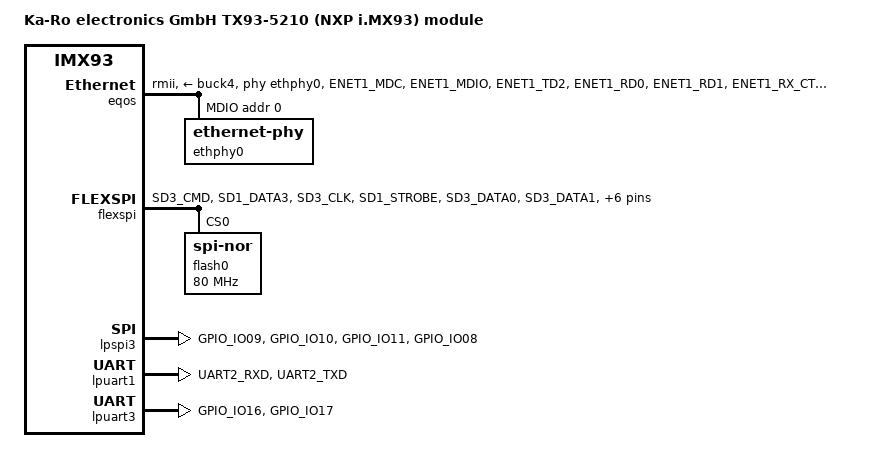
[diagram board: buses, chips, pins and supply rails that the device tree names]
// SPDX-License-Identifier: (GPL-2.0+ OR MIT)
/*
 * Copyright 2023 Lothar Waßmann <LW@KARO-electronics.de>
 */

/dts-v1/;

#include "imx93-karo.dtsi"

/ {
	model = "Ka-Ro electronics GmbH TX93-5210 (NXP i.MX93) module";
	compatible = "karo,tx93-5210", "fsl,imx93";
};

&eqos {
	pinctrl-names = "default";
	pinctrl-0 = <&pinctrl_eqos_rmii &pinctrl_ethphy0_rst>;
	assigned-clock-rates = <0 50000000>;
	phy-mode = "rmii";
	phy-handle = <&ethphy0>;
	phy-supply = <&buck4>;
	phy-reset-gpios = <&gpio4 13 GPIO_ACTIVE_LOW>;
	phy-reset-duration = <25000>; /* µs */
	phy-reset-post-delay = <10>; /* µs */
	status = "okay";

	mdio {
		compatible = "snps,dwmac-mdio";
		#address-cells = <1>;
		#size-cells = <0>;
		clock-frequency = <2500000>;

		ethphy0: ethernet-phy@0 {
			reg = <0>;
			clocks = <&clk IMX93_CLK_ENET>;
			smsc,disable-energy-detect;
		};
	};
};

&fec {
	pinctrl-names = "default";
	pinctrl-0 = <&pinctrl_fec_rgmii>;
	phy-supply = <&buck4>;
	status = "disabled";

	mdio {
		#address-cells = <1>;
		#size-cells = <0>;
		clock-frequency = <2500000>;
	};
};

&flexspi {
	pinctrl-names = "default";
	pinctrl-0 = <&pinctrl_flexspi>;
	status = "okay";

	flash0: flash@0 {
		reg = <0>;
		#address-cells = <1>;
		#size-cells = <1>;
		compatible = "jedec,spi-nor";
		spi-max-frequency = <80000000>;
		spi-tx-bus-width = <1>;
		spi-rx-bus-width = <1>;
	};
};

&lpspi3 {
	pinctrl-names = "default";
	pinctrl-0 = <&pinctrl_lpspi3 &pinctrl_lpspi3_cs>;
	spi-max-frequency = <25000000>;
};

&lpuart1 { /* console */
	pinctrl-0 = <&pinctrl_uart1 &pinctrl_uart1_rtscts>;
	uart-has-rtscts;
};

&lpuart2 {
	pinctrl-names = "default";
	pinctrl-0 = <&pinctrl_uart2>;
	status = "disabled";
};

&lpuart3 {
	pinctrl-0 = <&pinctrl_uart3 &pinctrl_uart3_rtscts>;
	uart-has-rtscts;
};

&iomuxc {
	pinctrl-names = "default";
	status = "okay";

	pinctrl_eqos_rmii: eqos-rmiigrp {
		fsl,pins = <
			MX93_PAD_ENET1_MDC__ENET_QOS_MDC			0x57e
			MX93_PAD_ENET1_MDIO__ENET_QOS_MDIO			0x17e
			MX93_PAD_ENET1_TD2__CCM_ENET_QOS_CLOCK_GENERATE_REF_CLK	0x4000017e
			/* SMSC LAN8710 Strap pins: MODE0 */
			MX93_PAD_ENET1_RD0__ENET_QOS_RGMII_RD0			0x37e
			/* MODE1 */
			MX93_PAD_ENET1_RD1__ENET_QOS_RGMII_RD1			0x37e
			/* MODE2 (external Pullup) */
			MX93_PAD_ENET1_RX_CTL__ENET_QOS_RGMII_RX_CTL		0x37e
			/* PHYAD0 */
			MX93_PAD_ENET1_RXC__ENET_QOS_RX_ER			0x57e

			MX93_PAD_ENET1_TD0__ENET_QOS_RGMII_TD0			0x57e
			MX93_PAD_ENET1_TD1__ENET_QOS_RGMII_TD1			0x57e
			MX93_PAD_ENET1_TX_CTL__ENET_QOS_RGMII_TX_CTL		0x57e
		>;
	};

	pinctrl_ethphy0_rst: ethphy0-rstgrp {
		fsl,pins = <
			MX93_PAD_ENET1_RD3__GPIO4_IO13				0x4000017e
		>;
	};

	pinctrl_fec_rgmii: fec-rgmiigrp {
		fsl,pins = <
			MX93_PAD_ENET2_MDC__ENET1_MDC				0x57e
			MX93_PAD_ENET2_MDIO__ENET1_MDIO				0x17e
			/* KSZ9031 Strap pins: MODE0 */
			MX93_PAD_ENET2_RD0__ENET1_RGMII_RD0			0x37e
			/* MODE1 */
			MX93_PAD_ENET2_RD1__ENET1_RGMII_RD1			0x37e
			/* MODE2 */
			MX93_PAD_ENET2_RD2__ENET1_RGMII_RD2			0x37e
			/* MODE3 */
			MX93_PAD_ENET2_RD3__ENET1_RGMII_RD3			0x37e
			/* CLK125_EN */
			MX93_PAD_ENET2_RX_CTL__ENET1_RGMII_RX_CTL		0x57e

			MX93_PAD_ENET2_RXC__ENET1_RGMII_RXC			0x5fe
			MX93_PAD_ENET2_TD0__ENET1_RGMII_TD0			0x57e
			MX93_PAD_ENET2_TD1__ENET1_RGMII_TD1			0x57e
			MX93_PAD_ENET2_TD2__ENET1_RGMII_TD2			0x57e
			MX93_PAD_ENET2_TD3__ENET1_RGMII_TD3			0x57e
			MX93_PAD_ENET2_TXC__ENET1_RGMII_TXC			0x5fe
			MX93_PAD_ENET2_TX_CTL__ENET1_RGMII_TX_CTL		0x57e
		>;
	};

	pinctrl_flexcan2: flexcan2grp {
		fsl,pins = <
			MX93_PAD_GPIO_IO25__CAN2_TX				0x139e
			MX93_PAD_GPIO_IO27__CAN2_RX				0x139e
		>;
	};

	pinctrl_flexspi: flexspigrp {
		fsl,pins = <
			MX93_PAD_SD3_CMD__FLEXSPI1_A_SS0_B			0x3fe
			MX93_PAD_SD1_DATA3__FLEXSPI1_A_SS1_B			0x3fe
			MX93_PAD_SD3_CLK__FLEXSPI1_A_SCLK			0x3fe
			MX93_PAD_SD1_STROBE__FLEXSPI1_A_DQS			0x3fe
			MX93_PAD_SD3_DATA0__FLEXSPI1_A_DATA00			0x3fe
			MX93_PAD_SD3_DATA1__FLEXSPI1_A_DATA01			0x3fe
			MX93_PAD_SD3_DATA2__FLEXSPI1_A_DATA02			0x3fe
			MX93_PAD_SD3_DATA3__FLEXSPI1_A_DATA03			0x3fe
			MX93_PAD_SD1_DATA4__FLEXSPI1_A_DATA04			0x3fe
			MX93_PAD_SD1_DATA5__FLEXSPI1_A_DATA05			0x3fe
			MX93_PAD_SD1_DATA6__FLEXSPI1_A_DATA06			0x3fe
			MX93_PAD_SD1_DATA7__FLEXSPI1_A_DATA07			0x3fe
		>;
	};

	pinctrl_lpspi3: lpspi3-grp {
		fsl,pins = <
			MX93_PAD_GPIO_IO09__LPSPI3_SIN				0x131e
			MX93_PAD_GPIO_IO10__LPSPI3_SOUT				0x011e
			MX93_PAD_GPIO_IO11__LPSPI3_SCK				0x011e
		>;
	};

	pinctrl_lpspi3_cs: lpspi3-csgrp {
		fsl,pins = <
			MX93_PAD_GPIO_IO08__GPIO2_IO08				0x4000121e
		>;
	};

	pinctrl_pmic: pmicgrp {
		fsl,pins = <
			MX93_PAD_WDOG_ANY__GPIO1_IO15				0x31e
		>;
	};

	pinctrl_uart1_rtscts: uart1-rtsctsgrp {
		fsl,pins = <
			MX93_PAD_UART2_RXD__LPUART1_CTS_B			0x31e
			MX93_PAD_UART2_TXD__LPUART1_RTS_B			0x31e
		>;
	};

	pinctrl_uart2: uart2grp {
		fsl,pins = <
			MX93_PAD_UART2_TXD__LPUART2_TX				0x31e
			MX93_PAD_UART2_RXD__LPUART2_RX				0x31e
		>;
	};

	pinctrl_uart3_rtscts: uart3-rtsctsgrp {
		fsl,pins = <
			MX93_PAD_GPIO_IO16__LPUART3_CTS_B			0x31e
			MX93_PAD_GPIO_IO17__LPUART3_RTS_B			0x31e
		>;
	};
};
